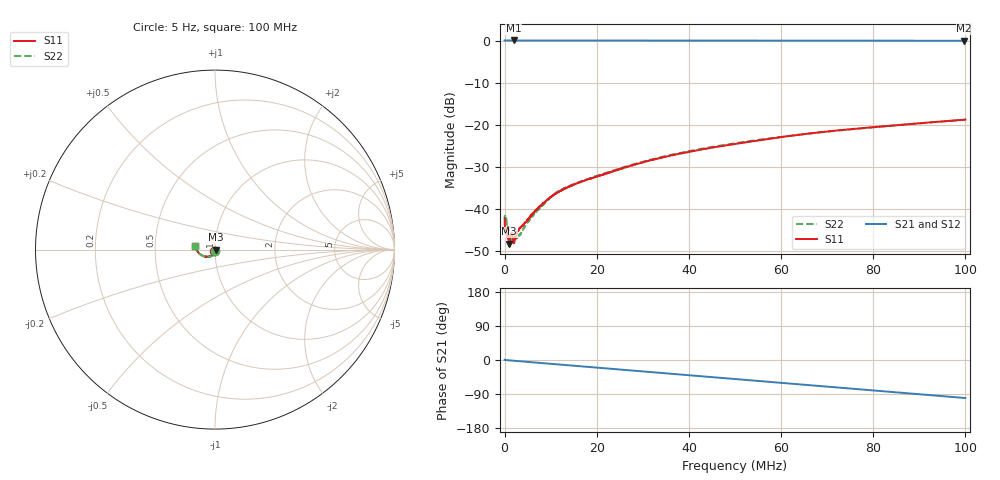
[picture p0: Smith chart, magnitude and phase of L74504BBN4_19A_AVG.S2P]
!Agilent Technologies,E5061B,MY49102235,A.02.00
!Date: Tue Jul 11 16:42:38 2023
!Data & Calibration Information:
!Freq	S11:SOLT2(ON)	S21:SOLT2(ON)	S12:SOLT2(ON)	S22:SOLT2(ON)
# Hz S RI R 50
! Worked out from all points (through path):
!   1600 points, 5 Hz to 100 MHz, reference 50 ohm
!   highest |S21| = 0.02 dB at 2.001 MHz (marker M1); lowest = -0.1 dB at 99.75 MHz (marker M2)
!   group delay of S21, straight-line fit = 2.79 ns
!   lowest |S11| = -48.3 dB at 1.001 MHz (marker M3), VSWR 1.01, Z = 50.4 - j0.0761 ohm
!   |S11| at or under -10 dB: start of sweep to end of sweep
!   |S22| runs from -48.9 to -18.8 dB; largest |S21 - S12| = 0.0027
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5  -0.00517 -0.00563  1.002 0.00801  1 0.0103  -0.0015 -0.00756
437778.6  0.00513 -0.000579  1.001 -0.00548  1.001 -0.00613  0.00661 -0.00221
625395.8  0.00508 -0.000624  1.002 -0.0105  1.002 -0.0101  0.00609 -0.000989
1000630  0.00378 -0.000755  1.001 -0.0164  1.001 -0.0161  0.00516 -0.00168
1563482  0.00437 -0.00288  1.001 -0.0263  1.001 -0.0255  0.00317 -0.00347
2001256  0.00305 -0.00279  1.002 -0.035  1.001 -0.0347  0.0032 -0.00251
2376490  0.00331 -0.00297  0.9998 -0.0413  1 -0.0416  0.00398 -0.00263
3252037  0.00426 -0.00416  0.9994 -0.0569  0.9992 -0.0566  0.00317 -0.00365
6003757  0.00332 -0.0078  0.9954 -0.1049  0.9954 -0.1046  0.00294 -0.00765
9505946  0.00147 -0.013  0.9871 -0.166  0.9872 -0.1657  0.00093 -0.013
1.163227e7  -4.73e-05 -0.0158  0.9803 -0.2026  0.9801 -0.2021  -0.000915 -0.016
1.669794e7  -0.00387 -0.0207  0.9579 -0.2886  0.9578 -0.2882  -0.00419 -0.0208
2.582865e7  -0.0111 -0.0284  0.8998 -0.4375  0.8996 -0.4372  -0.00899 -0.0298
3.333334e7  -0.0199 -0.0343  0.8341 -0.5516  0.8341 -0.5512  -0.0185 -0.0357
4.033771e7  -0.0293 -0.038  0.76 -0.6492  0.7601 -0.6488  -0.0288 -0.0394
5.003127e7  -0.0435 -0.0397  0.6391 -0.7682  0.639 -0.7678  -0.0437 -0.041
6.672921e7  -0.0721 -0.0332  0.3895 -0.9184  0.3899 -0.9184  -0.0714 -0.0337
7.53596e7  -0.0854 -0.0238  0.2467 -0.9657  0.247 -0.9655  -0.0848 -0.0248
8.33646e7  -0.096 -0.0115  0.1095 -0.9901  0.1094 -0.9902  -0.0956 -0.0134
9.130707e7  -0.1053 0.00292  -0.0291 -0.9946  -0.0288 -0.9946  -0.1049 -5.16e-05
9.974984e7  -0.1127 0.0202  -0.175 -0.9784  -0.1747 -0.9786  -0.1126 0.017
1e8  -0.1128 0.0207  -0.1793 -0.9778  -0.1791 -0.9779  -0.113 0.0177
